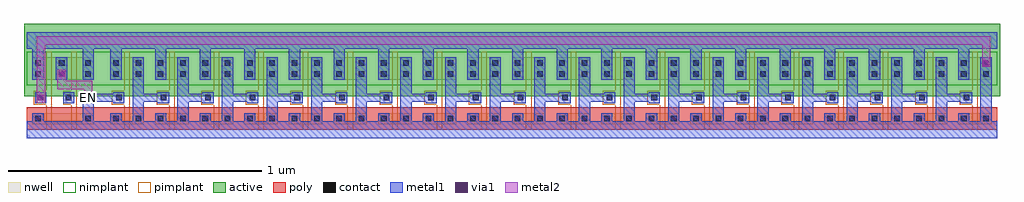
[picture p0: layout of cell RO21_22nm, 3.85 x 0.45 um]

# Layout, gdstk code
import gdstk
lib = gdstk.Library(unit=1e-6, precision=1e-09)
def R(c, l, rs):  # rectangles x0, y0, x1, y1
    for r in rs: c.add(gdstk.rectangle(r[:2], r[2:], *l))
def A(c, l, x, y, w, h, nx, ny, dx, dy):  # array of equal rectangles
    R(c, l, [(x+i*dx, y+j*dy, x+i*dx+w, y+j*dy+h) for i in range(nx) for j in range(ny)])
active = (1, 0)
nwell = (2, 0)
poly = (3, 0)
nimplant = (4, 0)
pimplant = (5, 0)
contact = (6, 0)
metal1 = (7, 0)
via1 = (8, 0)
metal2 = (9, 0)

ro21_22nm = lib.new_cell('RO21_22nm')
A(ro21_22nm, active, 0.297, 0.165, 0.198, 0.286, 20, 1, 0.176, 0)
R(ro21_22nm, active, [(-0.011,0.165,0.319,0.451)])
A(ro21_22nm, nwell, 0.33, 0.055, 0.132, 0.044, 20, 1, 0.176, 0)
A(ro21_22nm, nwell, 0.33, 0.231, 0.132, 0.088, 20, 1, 0.176, 0)
R(ro21_22nm, nwell, [(0.022,0.055,0.264,0.099), (0.022,0.231,0.264,0.319)])
A(ro21_22nm, poly, 0.308, 0.033, 0.176, 0.088, 20, 1, 0.176, 0)
R(ro21_22nm, poly, [(0,0.033,0.308,0.121)])
A(ro21_22nm, nimplant, 0.308, 0.209, 0.176, 0.132, 20, 1, 0.176, 0)
R(ro21_22nm, nimplant, [(0,0.209,0.308,0.341)])
A(ro21_22nm, pimplant, 0.385, 0.033, 0.022, 0.308, 20, 1, 0.176, 0)
A(ro21_22nm, pimplant, 0.688, 0.132, 0.055, 0.055, 5, 1, 0.176, 0)
A(ro21_22nm, pimplant, 1.744, 0.132, 0.055, 0.055, 8, 1, 0.176, 0)
R(ro21_22nm, pimplant, [(0.077,0.033,0.099,0.341), (0.176,0.033,0.198,0.341), (0.028,0.132,0.083,0.187), (0.143,0.132,0.198,0.187), (0.336,0.132,0.39,0.187), (0.512,0.132,0.566,0.187), (1.568,0.132,1.622,0.187), (3.152,0.132,3.206,0.187), (3.327,0.132,3.383,0.187), (3.504,0.132,3.559,0.187), (3.68,0.132,3.734,0.187)])
A(ro21_22nm, contact, 0.341, 0.066, 0.022, 0.022, 40, 2, 0.088, 0.176)
A(ro21_22nm, contact, 0.352, 0.149, 0.022, 0.022, 20, 1, 0.176, 0)
A(ro21_22nm, contact, 0.341, 0.286, 0.022, 0.022, 40, 1, 0.088, 0)
R(ro21_22nm, contact, [(0.033,0.066,0.055,0.088), (0.231,0.066,0.253,0.088), (0.044,0.149,0.066,0.171), (0.154,0.149,0.176,0.171), (0.033,0.242,0.055,0.264), (0.126,0.242,0.149,0.264), (0.231,0.242,0.253,0.264), (0.033,0.286,0.055,0.308), (0.126,0.286,0.149,0.308), (0.231,0.286,0.253,0.308)])
A(ro21_22nm, metal1, 0.308, 0, 0.176, 0.066, 20, 2, 0.176, 0.352)
A(ro21_22nm, metal1, 0.33, 0, 0.044, 0.099, 20, 1, 0.176, 0)
A(ro21_22nm, metal1, 0.418, 0.055, 0.044, 0.264, 20, 1, 0.176, 0)
A(ro21_22nm, metal1, 0.341, 0.138, 0.044, 0.044, 20, 1, 0.176, 0)
A(ro21_22nm, metal1, 0.462, 0.143, 0.055, 0.033, 19, 1, 0.176, 0)
A(ro21_22nm, metal1, 0.33, 0.231, 0.044, 0.187, 20, 1, 0.176, 0)
R(ro21_22nm, metal1, [(0,0,0.308,0.066), (0.022,0,0.066,0.099), (0.22,0.055,0.264,0.176), (0.033,0.138,0.077,0.182), (0.143,0.138,0.187,0.182), (0.264,0.143,0.341,0.176), (0.022,0.231,0.066,0.418), (0.115,0.231,0.159,0.319), (0.22,0.231,0.264,0.418), (0,0.352,0.308,0.418)])
R(ro21_22nm, via1, [(0.231,0.143,0.253,0.165), (0.044,0.149,0.066,0.171), (0.126,0.242,0.149,0.264), (3.773,0.286,3.795,0.308)])
R(ro21_22nm, metal2, [(0.039,0.138,0.072,0.402), (0.226,0.138,0.259,0.226), (0.121,0.193,0.259,0.226), (0.121,0.193,0.154,0.27), (3.768,0.281,3.801,0.402), (0.039,0.369,3.801,0.402)])
ro21_22nm.add(gdstk.Label('EN', (0.242,0.159), layer=7, texttype=0))

lib.write_gds('RO21_22nm.gds')
